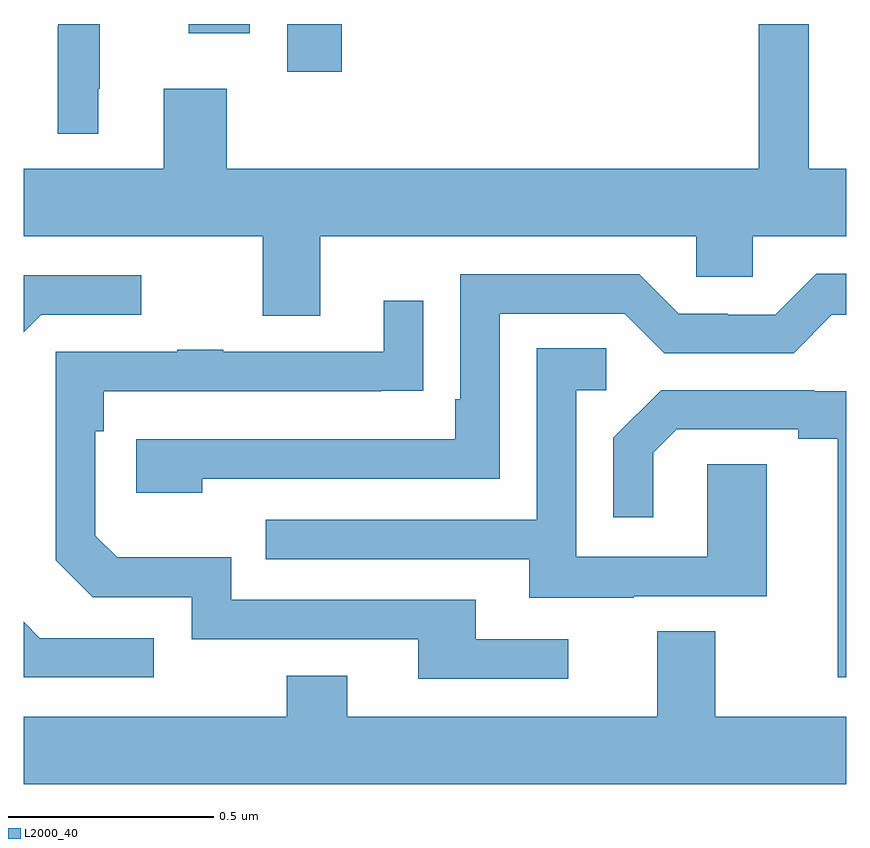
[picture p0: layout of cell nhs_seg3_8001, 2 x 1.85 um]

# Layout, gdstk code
import gdstk
lib = gdstk.Library(unit=1e-6, precision=1e-09)
def R(c, l, rs):  # rectangles x0, y0, x1, y1
    for r in rs: c.add(gdstk.rectangle(r[:2], r[2:], *l))
def P(c, l, *ps):  # polygons
    for p in ps: c.add(gdstk.Polygon(p, *l))
L2000_40 = (2000, 40)

nhs_seg3_8001 = lib.new_cell('nhs_seg3_8001')
R(nhs_seg3_8001, L2000_40, [(210.641,733.284,210.773,733.4), (210.401,733.377,210.55,733.4)])
P(nhs_seg3_8001, L2000_40, [(210.721,732.884),(211.635,732.884),(211.635,732.786),(211.773,732.786),(211.773,732.884),(212,732.884),(212,733.048),(211.909,733.048),(211.909,733.4),(211.787,733.4),(211.787,733.048),(210.494,733.048),(210.494,733.243),(210.341,733.243),(210.341,733.048),(210,733.048),(210,732.884),(210.581,732.884),(210.581,732.69),(210.721,732.69)],
  [(210.181,733.243),(210.185,733.243),(210.185,733.4),(210.084,733.4),(210.084,733.394),(210.083,733.394),(210.083,733.133),(210.181,733.133)],
  [(210.434,732.294),(211.158,732.294),(211.158,732.696),(211.461,732.696),(211.557,732.6),(211.872,732.6),(211.965,732.693),(212,732.693),(212,732.793),(211.927,732.793),(211.827,732.693),(211.712,732.693),(211.712,732.696),(211.593,732.696),(211.497,732.792),(211.062,732.792),(211.062,732.487),(211.049,732.487),(211.049,732.39),(210.273,732.39),(210.273,732.26),(210.434,732.26)],
  [(210.042,732.693),(210.286,732.693),(210.286,732.789),(210,732.789),(210,732.651)],
  [(211.324,731.904),(211.099,731.904),(211.099,732),(210.504,732),(210.504,732.103),(210.227,732.103),(210.174,732.156),(210.174,732.41),(210.194,732.41),(210.194,732.507),(210.869,732.507),(210.869,732.508),(210.971,732.508),(210.971,732.727),(210.875,732.727),(210.875,732.603),(210.485,732.603),(210.485,732.608),(210.373,732.608),(210.373,732.603),(210.078,732.603),(210.078,732.096),(210.168,732.006),(210.408,732.006),(210.408,731.904),(210.959,731.904),(210.959,731.808),(211.324,731.808)],
  [(211.483,732.009),(211.807,732.009),(211.807,732.329),(211.662,732.329),(211.662,732.105),(211.344,732.105),(211.344,732.51),(211.417,732.51),(211.417,732.611),(211.248,732.611),(211.248,732.195),(210.589,732.195),(210.589,732.099),(211.229,732.099),(211.229,732.005),(211.483,732.005)],
  [(212,732.507),(211.922,732.507),(211.922,732.51),(211.55,732.51),(211.434,732.394),(211.434,732.201),(211.531,732.201),(211.531,732.357),(211.588,732.414),(211.883,732.414),(211.883,732.392),(211.979,732.392),(211.979,731.811),(212,731.811)],
  [(210.316,731.907),(210.039,731.907),(210,731.946),(210,731.811),(210.316,731.811)],
  [(212,731.716),(211.681,731.716),(211.681,731.924),(211.541,731.924),(211.541,731.716),(210.787,731.716),(210.787,731.815),(210.64,731.815),(210.64,731.716),(210,731.716),(210,731.552),(212,731.552)])

lib.write_gds('nhs_seg3_8001.gds')
